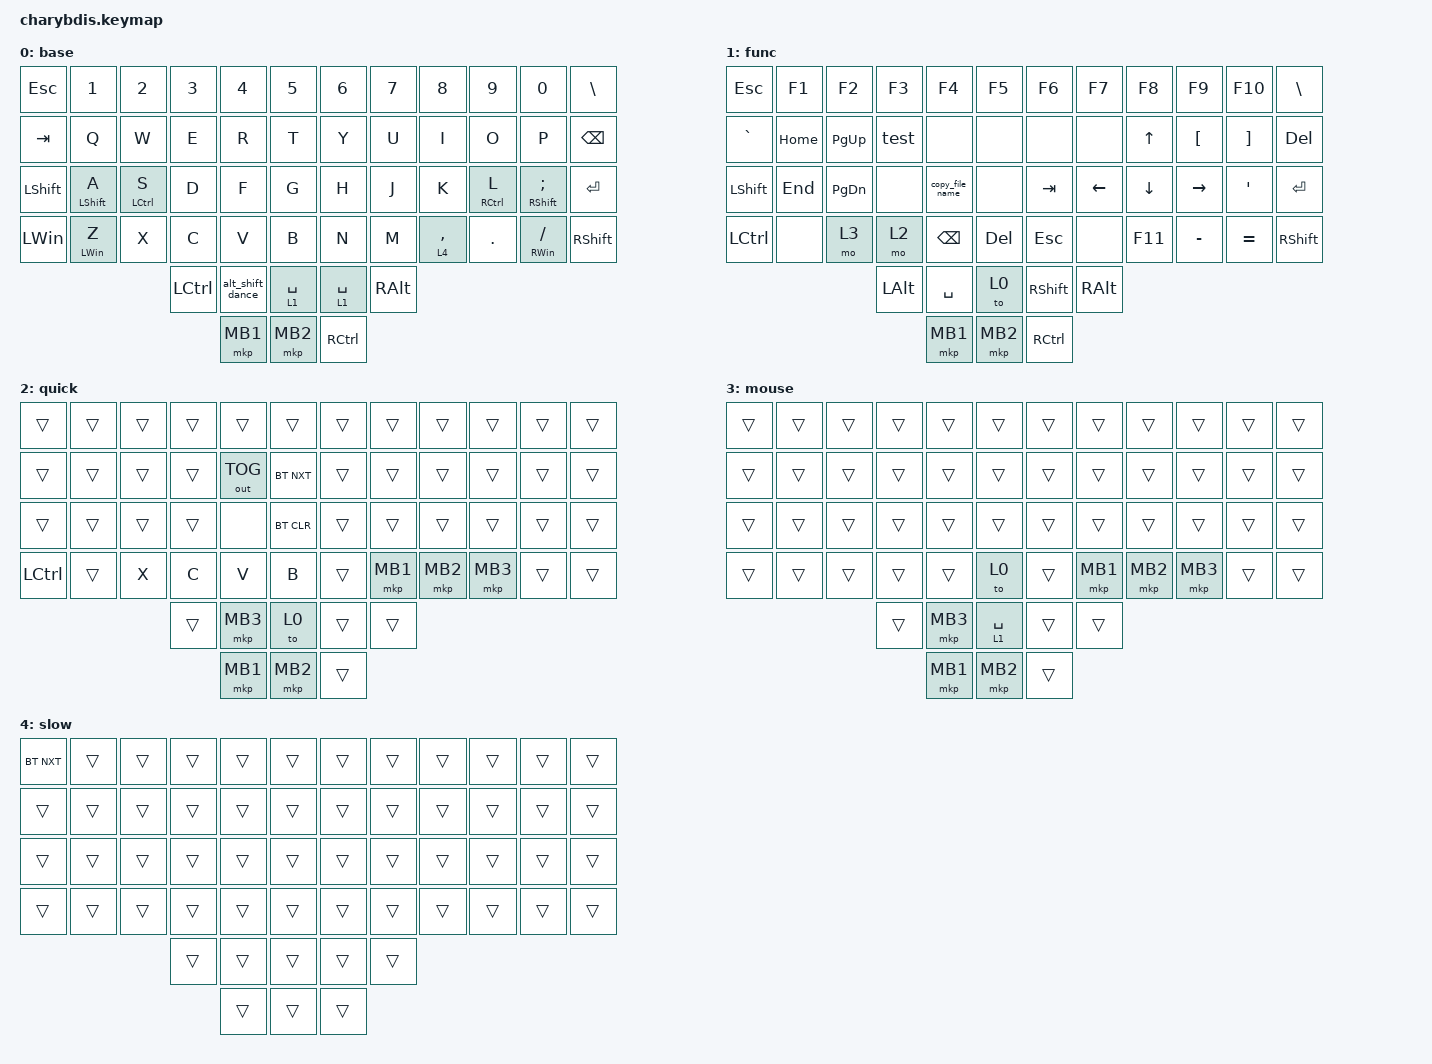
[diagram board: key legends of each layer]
#include <dt-bindings/zmk/mouse.h>

// 🌟 必须确保有这两行

#include <dt-bindings/zmk/input_transform.h>
#include <input/processors.dtsi>
#include <behaviors.dtsi>
#include <dt-bindings/zmk/bt.h>
#include <dt-bindings/zmk/keys.h>
#include <dt-bindings/zmk/outputs.h>
#include <dt-bindings/zmk/pointing.h>
#include <dt-bindings/zmk/rgb.h>

&lt {
    tapping-term-ms = <200>;
    flavor = "balanced";
    quick-tap-ms = <150>;
};

/ {
    /*
     * 轨迹球自动鼠标层（带位移门限）。
     *
     * param1 = 目标层（3 = mouse），param2 = 无操作后回落时间（400ms）。
     *
     * activation-threshold：需要累计移动多少个计数才进入鼠标层。
     *   trackball 已设为 1200 CPI，再经下面 zip_xy_scaler 1/4 还原成
     *   300 CPI，和没有 dongle 时的手感一致；此时 30 counts ≈ 2.5mm。
     * activation-window-ms：这些位移必须在 300ms 内累计完成，
     *   否则清零，避免缓慢漂移慢慢凑够阈值。
     */
    mouse_layer_gate: mouse_layer_gate {
        compatible = "zmk,input-processor-mouse-layer-gate";
        #input-processor-cells = <2>;
        // activation-threshold = <30>; // 30 约等于2.5mm 放大四倍左右吧。
        activation-threshold = <120>; // 120 约等于10 mm，轨迹球10mm以内的动不会发生变化。 

        activation-window-ms = <300>;
    };

    behaviors {
        test: test {
            compatible = "zmk,behavior-tap-dance";
            label = "TEST";
            #binding-cells = <0>;
            bindings = <&kp BACKSPACE>, <&kp DEL>, <&kp LEFT_ALT>;
        };

        alt_shift_dance: alt_shift_dance {
            compatible = "zmk,behavior-tap-dance";
            label = "ALT_SHIFT_DANCE";
            #binding-cells = <0>;
            bindings = <&mt LEFT_ALT BACKSPACE>, <&mt LEFT_SHIFT DEL>;
        };

        hml: homewrow_modes_left {
            compatible = "zmk,behavior-hold-tap";
            label = "HOMEROW_MODS_LEFT_HAND";
            bindings = <&kp>, <&kp>;

            #binding-cells = <2>;
            tapping-term-ms = <200>;
            flavor = "tap-preferred";
        };

        hmr: homewrow_mods_right {
            compatible = "zmk,behavior-hold-tap";
            label = "HOMEROW_MODS_RIGHT_HAND";
            bindings = <&kp>, <&kp>;

            #binding-cells = <2>;
            tapping-term-ms = <200>;
            flavor = "tap-preferred";
        };
    };

    combos {
        compatible = "zmk,combos";

        to2 {
            bindings = <&mo 2>;
            key-positions = <15 28>;
            layers = <0>;
            slow-release;
        };

        leftsmallbracket {
            bindings = <&kp LEFT_PARENTHESIS>;
            key-positions = <15 16>;
        };

        rightsmallbracket {
            bindings = <&kp RIGHT_PARENTHESIS>;
            key-positions = <19 20>;
        };

        esc {
            bindings = <&kp ESC>;
            key-positions = <13 14>;
        };

        double-quotation {
            bindings = <&kp DOUBLE_QUOTES>;
            key-positions = <25 26>;
            layers = <0>;
        };

        single-quotation {
            bindings = <&kp SQT>;
            key-positions = <33 34>;
            layers = <0>;
        };

        enter {
            bindings = <&kp ENTER>;
            key-positions = <37 38>;
        };

        slash {
            bindings = <&kp NON_US_BACKSLASH>;
            key-positions = <21 20>;
        };

        S_slash {
            bindings = <&kp PIPE>;
            key-positions = <21 22>;
        };

        leftsquarebracket {
            bindings = <&kp LEFT_BRACKET>;
            key-positions = <27 28>;
            layers = <0>;
        };

        rightsquarebracket {
            bindings = <&kp RIGHT_BRACKET>;
            key-positions = <31 32>;
            layers = <0>;
        };

        bigleft {
            bindings = <&kp LEFT_BRACE>;
            key-positions = <39 40>;
            layers = <0>;
        };

        bigright {
            bindings = <&kp RIGHT_BRACE>;
            key-positions = <43 44>;
        };

        tog2 {
            bindings = <&tog 2>;
            key-positions = <27 16>;
            slow-release;
            layers = <0>;
        };

        mo-2 {
            bindings = <&mo 2>;
            key-positions = <45 46>;
            layers = <0 3>;
        };
    };

    macros {
        copy_file_name: copy_file_name {
            compatible = "zmk,behavior-macro";
            #binding-cells = <0>;
            bindings = <&kp F2 &kp RC(C) &kp ESC>;
            label = "COPY_FILE_NAME";
        };

        To1_macro: To1_macro {
            compatible = "zmk,behavior-macro";
            label = "To1_macro";
            #binding-cells = <0>;
            bindings = <&rgb_ug RGB_EFF &rgb_ug RGB_COLOR_HSB(128,100,50) &to 1>;
        };

        To0_macro: To0_macro {
            compatible = "zmk,behavior-macro";
            label = "To0_macro";
            #binding-cells = <0>;
            bindings = <&rgb_ug RGB_EFR &to 0>;
        };

        To2_macro: To2_macro {
            compatible = "zmk,behavior-macro";
            label = "To2_macro";
            #binding-cells = <0>;
            bindings =
                <&to 0>,
                <&macro_wait_time 30>,
                <&rgb_ug RGB_COLOR_HSB(250,100,50)>;
        };
    };

    keymap {
        compatible = "zmk,keymap";

        layer_0 {
        display-name = "base";
            bindings = <
&kp ESC         &kp N1             &kp N2        &kp N3     &kp N4            &kp N5         &kp N6       &kp N7         &kp N8       &kp N9        &kp N0                      &kp BSLH
&kp TAB         &kp Q              &kp W         &kp E      &kp R             &kp T          &kp Y        &kp U          &kp I        &kp O         &kp P                       &kp BACKSPACE
&kp LEFT_SHIFT  &hml LEFT_SHIFT A  &hml LCTRL S  &kp D      &kp F             &kp G          &kp H        &kp J          &kp K        &hml RCTRL L  &hmr RIGHT_SHIFT SEMICOLON  &kp ENTER
&kp LEFT_WIN    &hml LEFT_WIN Z    &kp X         &kp C      &kp V             &kp B          &kp N        &kp M          &lt 4 COMMA  &kp PERIOD    &hmr RWIN SLASH             &kp RIGHT_SHIFT
                                                 &kp LCTRL  &alt_shift_dance  &lt 1 SPACE    &lt 1 SPACE  &kp RIGHT_ALT
                                                            &mkp MB1          &mkp MB2       &kp RCTRL
            >;
        };

        layer_1 {
            display-name = "func";
            bindings = <
&kp ESC         &kp F1    &kp F2         &kp F3        &kp F4           &kp F5      &kp F6           &kp F7         &kp F8    &kp F9            &kp F10            &kp BSLH
&kp GRAVE       &kp HOME  &kp PAGE_UP    &test         &none            &none       &none            &none          &kp UP    &kp LEFT_BRACKET  &kp RIGHT_BRACKET  &kp DEL
&kp LEFT_SHIFT  &kp END   &kp PAGE_DOWN  &none         &copy_file_name  &none       &kp TAB          &kp LEFT       &kp DOWN  &kp RIGHT         &kp SQT            &kp ENTER
&kp LCTRL       &none     &mo 3          &mo 2         &kp BACKSPACE    &kp DEL     &kp ESCAPE       &none          &kp F11   &kp MINUS         &kp EQUAL          &kp RIGHT_SHIFT
                                         &kp LEFT_ALT  &kp SPACE        &to 0       &kp RIGHT_SHIFT  &kp RIGHT_ALT
                                                       &mkp MB1         &mkp MB2    &kp RCTRL
            >;
        };

        layer_2 {
            display-name = "quick";
            bindings = <
&trans     &trans  &trans  &trans  &trans        &trans        &trans  &trans    &trans    &trans    &trans  &trans
&trans     &trans  &trans  &trans  &out OUT_TOG  &bt BT_NXT    &trans  &trans    &trans    &trans    &trans  &trans
&trans     &trans  &trans  &trans  &none         &bt BT_CLR    &trans  &trans    &trans    &trans    &trans  &trans
&kp LCTRL  &trans  &kp X   &kp C   &kp V         &kp B         &trans  &mkp MB1  &mkp MB2  &mkp MB3  &trans  &trans
                           &trans  &mkp MB3      &to 0         &trans  &trans
                                   &mkp MB1      &mkp MB2      &trans
            >;
        };

        layer_3 {
            display-name = "mouse";
            bindings = <
&trans  &trans  &trans  &trans  &trans    &trans         &trans  &trans    &trans    &trans    &trans  &trans
&trans  &trans  &trans  &trans  &trans    &trans         &trans  &trans    &trans    &trans    &trans  &trans
&trans  &trans  &trans  &trans  &trans    &trans         &trans  &trans    &trans    &trans    &trans  &trans
&trans  &trans  &trans  &trans  &trans    &to 0          &trans  &mkp MB1  &mkp MB2  &mkp MB3  &trans  &trans
                        &trans  &mkp MB3  &lt 1 SPACE    &trans  &trans
                                &mkp MB1  &mkp MB2       &trans
            >;
        };

        layer_4 {
            display-name = "slow";
            bindings = <
&bt BT_NXT  &trans  &trans  &trans  &trans  &trans    &trans  &trans  &trans  &trans  &trans  &trans
&trans      &trans  &trans  &trans  &trans  &trans    &trans  &trans  &trans  &trans  &trans  &trans
&trans      &trans  &trans  &trans  &trans  &trans    &trans  &trans  &trans  &trans  &trans  &trans
&trans      &trans  &trans  &trans  &trans  &trans    &trans  &trans  &trans  &trans  &trans  &trans
                            &trans  &trans  &trans    &trans  &trans
                                    &trans  &trans    &trans
            >;
        };
    };
};

&trackball_listener {
    status = "okay";

    /*
     * 方向转换之后，先把 1200 CPI 的原始计数除以 4，得到 300 CPI。
     * 这和无 dongle 固件里 PMW3610_CPI=1200 + CPI_DIVIDOR=4 的输出
     * 完全一致，刷完如果觉得慢/快，只改这个 1/4 即可。
     * 最后用 mouse_layer_gate 代替原来的 zip_temp_layer：位移够了才
     * 进鼠标层，400ms 没有移动/按键就回落到原来的层。
     */
    input-processors =
        <&zip_xy_transform (INPUT_TRANSFORM_Y_INVERT | INPUT_TRANSFORM_X_INVERT | INPUT_TRANSFORM_XY_SWAP)>,
        <&zip_xy_scaler 1 4>,
        <&mouse_layer_gate 3 400>;

    // 🌟 添加滚动配置
    scroll {
        layers = <1>;
        /* 滚动链不经过上面的 1/4 缩放，所以这里单独把 1200 CPI 还原成
         * 原来的 400 CPI（1/3），保持换 dongle 前的滚动速度不变。 */
        input-processors = <&zip_xy_transform ( INPUT_TRANSFORM_X_INVERT | INPUT_TRANSFORM_XY_SWAP)>, <&zip_xy_scaler 1 3>, <&zip_x_scaler 1 30>, <&zip_y_scaler 1 10> , <&zip_xy_to_scroll_mapper>, <&zip_scroll_scaler 1 3>;
    };
};
